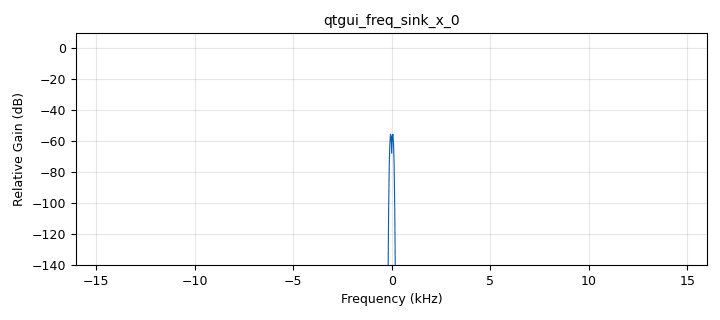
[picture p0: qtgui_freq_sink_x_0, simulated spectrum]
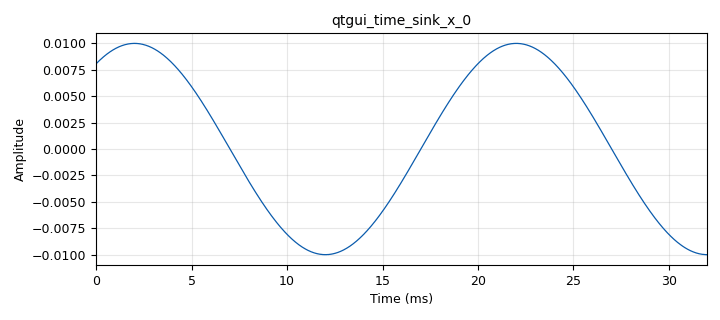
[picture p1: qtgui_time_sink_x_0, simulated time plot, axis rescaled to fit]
options:
  parameters:
    generate_options: qt_gui
    id: FM_RUIDO
    output_language: python
    title: Not titled yet
  states: {}

blocks:
- name: freq
  id: variable_qtgui_range
  parameters:
    start: '1'
    step: '1'
    stop: 32e3
    value: '50'
  states: {}
- name: samp_rate
  id: variable
  parameters:
    value: 32e3
  states: {}
- name: analog_fm_deemph_0
  id: analog_fm_deemph
  parameters:
    samp_rate: samp_rate
    tau: '75e-6'
  states: {}
- name: analog_fm_preemph_0
  id: analog_fm_preemph
  parameters:
    fh: '-1.0'
    samp_rate: samp_rate
    tau: '75e-6'
  states: {}
- name: analog_sig_source_x_0
  id: analog_sig_source_x
  parameters:
    amp: '0.01'
    freq: freq
    offset: '0'
    phase: '0'
    samp_rate: samp_rate
    type: float
    waveform: analog.GR_COS_WAVE
  states: {}
- name: blocks_throttle2_0
  id: blocks_throttle2
  parameters:
    samples_per_second: samp_rate
    type: float
  states: {}
- name: qtgui_freq_sink_x_0
  id: qtgui_freq_sink_x
  parameters:
    bw: samp_rate
    fc: '0'
    fftsize: '1024'
    type: float
  states: {}
- name: qtgui_time_sink_x_0
  id: qtgui_time_sink_x
  parameters:
    size: '1024'
    srate: samp_rate
    type: float
  states: {}

connections:
- [analog_fm_deemph_0, '0', qtgui_freq_sink_x_0, '0']
- [analog_fm_deemph_0, '0', qtgui_time_sink_x_0, '0']
- [analog_fm_preemph_0, '0', analog_fm_deemph_0, '0']
- [analog_sig_source_x_0, '0', blocks_throttle2_0, '0']
- [blocks_throttle2_0, '0', analog_fm_preemph_0, '0']

metadata:
  file_format: 1
  grc_version: 3.10.12.0
